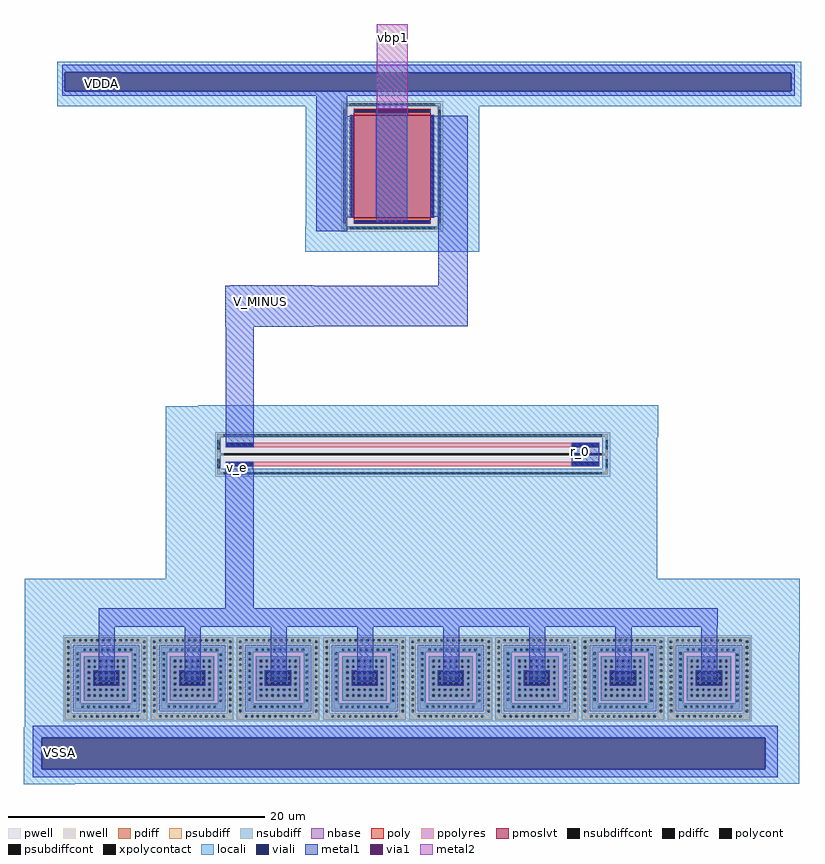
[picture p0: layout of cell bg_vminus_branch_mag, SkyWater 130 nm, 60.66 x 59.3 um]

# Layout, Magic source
magic
tech sky130A
magscale 1 2
<< locali >>
rect 2132 9877 13746 10046
rect 2132 9581 2254 9877
rect 3127 9872 13746 9877
rect 13588 9584 13746 9872
rect 3127 9581 13746 9584
rect 2132 9351 13746 9581
rect 6012 7472 6662 9351
rect 8072 7472 8722 9351
rect 6005 7076 8724 7472
rect 4333 4667 11515 4682
rect 3831 4179 11515 4667
rect 3831 3692 4688 4179
rect 10643 3692 11500 4179
rect 3831 1978 11500 3692
rect 1631 836 13723 1978
rect 1631 32 2501 836
rect 3297 32 3850 836
rect 4638 32 5191 836
rect 5979 32 6532 836
rect 7335 32 7888 836
rect 8676 32 9229 836
rect 10024 32 10577 836
rect 11358 32 11911 836
rect 12728 32 13716 836
rect 1631 -343 13716 32
rect 1614 -504 13716 -343
rect 1614 -1001 1891 -504
rect 13187 -1001 13716 -504
rect 1614 -1228 13716 -1001
rect 1614 -1229 2412 -1228
<< viali >>
rect 2254 9872 3127 9877
rect 2254 9584 13588 9872
rect 2254 9581 3127 9584
rect 1891 -1001 13187 -504
<< metal1 >>
rect 2216 9993 3203 9995
rect 2211 9877 13648 9993
rect 2211 9581 2254 9877
rect 3127 9872 13648 9877
rect 13588 9584 13648 9872
rect 3127 9581 13648 9584
rect 2211 9509 13648 9581
rect 6180 9195 6664 9509
rect 7114 9311 7603 9377
rect 7114 9250 7133 9311
rect 7595 9250 7603 9311
rect 7114 9224 7603 9250
rect 6180 7615 6752 9195
rect 6180 7397 6664 7615
rect 7115 7524 7598 9224
rect 7977 7622 8541 9198
rect 4834 6546 6139 6554
rect 8084 6546 8541 7622
rect 4761 5918 8541 6546
rect 4761 5916 8510 5918
rect 4763 5910 6139 5916
rect 4763 4028 5199 5910
rect 4765 3671 5197 3802
rect 10165 3730 10597 4099
rect 4761 1516 5201 3671
rect 2783 1225 12442 1516
rect 2784 376 3034 1225
rect 4126 376 4376 1225
rect 5466 377 5716 1225
rect 6817 377 7067 1225
rect 8161 376 8411 1225
rect 9502 376 9752 1225
rect 10848 377 11098 1225
rect 12190 377 12440 1225
rect 1755 -504 13383 -323
rect 1755 -1001 1891 -504
rect 13187 -1001 13383 -504
rect 1755 -1122 13383 -1001
<< via1 >>
rect 7133 9250 7595 9311
<< metal2 >>
rect 7119 9311 7609 10632
rect 7119 9250 7133 9311
rect 7595 9250 7609 9311
rect 7119 9245 7609 9250
use sky130_fd_pr__pfet_01v8_lvt_KLHPYA  XM3
transform 1 0 7362 0 1 8410
box -796 -1019 796 1019
use sky130_fd_pr__rf_pnp_05v5_W3p40L3p40  XQ9 $PDKPATH/libs.ref/sky130_fd_pr/mag
transform 1 0 2230 0 1 -249
box 0 0 1340 1340
use sky130_fd_pr__rf_pnp_05v5_W3p40L3p40  XQ10
transform 1 0 3572 0 1 -249
box 0 0 1340 1340
use sky130_fd_pr__rf_pnp_05v5_W3p40L3p40  XQ11
transform 1 0 4914 0 1 -249
box 0 0 1340 1340
use sky130_fd_pr__rf_pnp_05v5_W3p40L3p40  XQ12
transform 1 0 6264 0 1 -249
box 0 0 1340 1340
use sky130_fd_pr__rf_pnp_05v5_W3p40L3p40  XQ13
transform 1 0 7607 0 1 -249
box 0 0 1340 1340
use sky130_fd_pr__rf_pnp_05v5_W3p40L3p40  XQ14
transform 1 0 8949 0 1 -249
box 0 0 1340 1340
use sky130_fd_pr__rf_pnp_05v5_W3p40L3p40  XQ15
transform 1 0 10295 0 1 -249
box 0 0 1340 1340
use sky130_fd_pr__rf_pnp_05v5_W3p40L3p40  XQ16
transform 1 0 11637 0 1 -249
box 0 0 1340 1340
use sky130_fd_pr__res_high_po_0p35_2EL4HT  XR1
transform 0 1 7681 -1 0 4063
box -201 -3082 201 3082
use sky130_fd_pr__res_high_po_0p35_2EL4HT  XR2
transform 0 1 7681 -1 0 3767
box -201 -3082 201 3082
<< labels >>
flabel metal2 7285 10322 7485 10522 0 FreeSans 1600 0 0 0 vbp1
port 3 nsew
flabel metal1 2064 -843 2264 -643 0 FreeSans 1600 0 0 0 VSSA
port 0 nsew
flabel metal1 2729 9603 2929 9803 0 FreeSans 1600 0 0 0 VDDA
port 2 nsew
flabel metal1 5201 6199 5401 6399 0 FreeSans 1600 0 0 0 V_MINUS
port 1 nsew
flabel metal1 10296 3960 10296 3960 0 FreeSans 320 0 0 0 r_0
flabel metal1 4930 3714 4930 3714 0 FreeSans 320 0 0 0 v_e
<< end >>

# cell sky130_fd_pr__pfet_01v8_lvt_KLHPYA: kit device sky130_fd_pr__pfet_01v8_lvt, w 8.0 l 6.0 m 1 nf 1 diffcov 100 polycov 100 guard 1 glc 1 grc 1 gtc 1 gbc 1 tbcov 100 rlcov 100 topc 1 botc 1 poverlap 0 doverlap 1 lmin 0.35 wmin 0.42 class mosfet compatible {sky130_fd_pr__pfet_01v8 sky130_fd_pr__pfet_01v8_lvt sky130_fd_pr__pfet_01v8_hvt sky130_fd_pr__pfet_g5v0d10v5} full_metal 1 conn_gates 0 viasrc 100 viadrn 100 viagate 100 viagb 0 viagr 0 viagl 0 viagt 0 doports 1

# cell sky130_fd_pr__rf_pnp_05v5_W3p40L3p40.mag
magic
tech sky130A
magscale 1 2
<< pwell >>
rect 0 1187 1340 1340
rect 0 153 153 1187
rect 1187 153 1340 1187
rect 0 0 1340 153
<< nbase >>
rect 153 153 1187 1187
<< pdiff >>
rect 330 958 1010 1010
rect 330 924 384 958
rect 418 924 474 958
rect 508 924 564 958
rect 598 924 654 958
rect 688 924 744 958
rect 778 924 834 958
rect 868 924 924 958
rect 958 924 1010 958
rect 330 868 1010 924
rect 330 834 384 868
rect 418 834 474 868
rect 508 834 564 868
rect 598 834 654 868
rect 688 834 744 868
rect 778 834 834 868
rect 868 834 924 868
rect 958 834 1010 868
rect 330 778 1010 834
rect 330 744 384 778
rect 418 744 474 778
rect 508 744 564 778
rect 598 744 654 778
rect 688 744 744 778
rect 778 744 834 778
rect 868 744 924 778
rect 958 744 1010 778
rect 330 688 1010 744
rect 330 654 384 688
rect 418 654 474 688
rect 508 654 564 688
rect 598 654 654 688
rect 688 654 744 688
rect 778 654 834 688
rect 868 654 924 688
rect 958 654 1010 688
rect 330 598 1010 654
rect 330 564 384 598
rect 418 564 474 598
rect 508 564 564 598
rect 598 564 654 598
rect 688 564 744 598
rect 778 564 834 598
rect 868 564 924 598
rect 958 564 1010 598
rect 330 508 1010 564
rect 330 474 384 508
rect 418 474 474 508
rect 508 474 564 508
rect 598 474 654 508
rect 688 474 744 508
rect 778 474 834 508
rect 868 474 924 508
rect 958 474 1010 508
rect 330 418 1010 474
rect 330 384 384 418
rect 418 384 474 418
rect 508 384 564 418
rect 598 384 654 418
rect 688 384 744 418
rect 778 384 834 418
rect 868 384 924 418
rect 958 384 1010 418
rect 330 330 1010 384
<< pdiffc >>
rect 384 924 418 958
rect 474 924 508 958
rect 564 924 598 958
rect 654 924 688 958
rect 744 924 778 958
rect 834 924 868 958
rect 924 924 958 958
rect 384 834 418 868
rect 474 834 508 868
rect 564 834 598 868
rect 654 834 688 868
rect 744 834 778 868
rect 834 834 868 868
rect 924 834 958 868
rect 384 744 418 778
rect 474 744 508 778
rect 564 744 598 778
rect 654 744 688 778
rect 744 744 778 778
rect 834 744 868 778
rect 924 744 958 778
rect 384 654 418 688
rect 474 654 508 688
rect 564 654 598 688
rect 654 654 688 688
rect 744 654 778 688
rect 834 654 868 688
rect 924 654 958 688
rect 384 564 418 598
rect 474 564 508 598
rect 564 564 598 598
rect 654 564 688 598
rect 744 564 778 598
rect 834 564 868 598
rect 924 564 958 598
rect 384 474 418 508
rect 474 474 508 508
rect 564 474 598 508
rect 654 474 688 508
rect 744 474 778 508
rect 834 474 868 508
rect 924 474 958 508
rect 384 384 418 418
rect 474 384 508 418
rect 564 384 598 418
rect 654 384 688 418
rect 744 384 778 418
rect 834 384 868 418
rect 924 384 958 418
<< psubdiff >>
rect 26 1279 1314 1314
rect 26 1256 156 1279
rect 26 1222 60 1256
rect 94 1245 156 1256
rect 190 1245 246 1279
rect 280 1245 336 1279
rect 370 1245 426 1279
rect 460 1245 516 1279
rect 550 1245 606 1279
rect 640 1245 696 1279
rect 730 1245 786 1279
rect 820 1245 876 1279
rect 910 1245 966 1279
rect 1000 1245 1056 1279
rect 1090 1245 1146 1279
rect 1180 1256 1314 1279
rect 1180 1245 1247 1256
rect 94 1222 1247 1245
rect 1281 1222 1314 1256
rect 26 1213 1314 1222
rect 26 1166 127 1213
rect 26 1132 60 1166
rect 94 1132 127 1166
rect 1213 1166 1314 1213
rect 26 1076 127 1132
rect 26 1042 60 1076
rect 94 1042 127 1076
rect 26 986 127 1042
rect 26 952 60 986
rect 94 952 127 986
rect 26 896 127 952
rect 26 862 60 896
rect 94 862 127 896
rect 26 806 127 862
rect 26 772 60 806
rect 94 772 127 806
rect 26 716 127 772
rect 26 682 60 716
rect 94 682 127 716
rect 26 626 127 682
rect 26 592 60 626
rect 94 592 127 626
rect 26 536 127 592
rect 26 502 60 536
rect 94 502 127 536
rect 26 446 127 502
rect 26 412 60 446
rect 94 412 127 446
rect 26 356 127 412
rect 26 322 60 356
rect 94 322 127 356
rect 26 266 127 322
rect 26 232 60 266
rect 94 232 127 266
rect 26 176 127 232
rect 1213 1132 1247 1166
rect 1281 1132 1314 1166
rect 1213 1076 1314 1132
rect 1213 1042 1247 1076
rect 1281 1042 1314 1076
rect 1213 986 1314 1042
rect 1213 952 1247 986
rect 1281 952 1314 986
rect 1213 896 1314 952
rect 1213 862 1247 896
rect 1281 862 1314 896
rect 1213 806 1314 862
rect 1213 772 1247 806
rect 1281 772 1314 806
rect 1213 716 1314 772
rect 1213 682 1247 716
rect 1281 682 1314 716
rect 1213 626 1314 682
rect 1213 592 1247 626
rect 1281 592 1314 626
rect 1213 536 1314 592
rect 1213 502 1247 536
rect 1281 502 1314 536
rect 1213 446 1314 502
rect 1213 412 1247 446
rect 1281 412 1314 446
rect 1213 356 1314 412
rect 1213 322 1247 356
rect 1281 322 1314 356
rect 1213 266 1314 322
rect 1213 232 1247 266
rect 1281 232 1314 266
rect 26 142 60 176
rect 94 142 127 176
rect 26 127 127 142
rect 1213 176 1314 232
rect 1213 142 1247 176
rect 1281 142 1314 176
rect 1213 127 1314 142
rect 26 92 1314 127
rect 26 58 156 92
rect 190 58 246 92
rect 280 58 336 92
rect 370 58 426 92
rect 460 58 516 92
rect 550 58 606 92
rect 640 58 696 92
rect 730 58 786 92
rect 820 58 876 92
rect 910 58 966 92
rect 1000 58 1056 92
rect 1090 58 1146 92
rect 1180 58 1314 92
rect 26 26 1314 58
<< nsubdiff >>
rect 189 1132 1151 1151
rect 189 1098 320 1132
rect 354 1098 410 1132
rect 444 1098 500 1132
rect 534 1098 590 1132
rect 624 1098 680 1132
rect 714 1098 770 1132
rect 804 1098 860 1132
rect 894 1098 950 1132
rect 984 1098 1040 1132
rect 1074 1098 1151 1132
rect 189 1079 1151 1098
rect 189 1075 261 1079
rect 189 1041 208 1075
rect 242 1041 261 1075
rect 189 985 261 1041
rect 1079 1056 1151 1079
rect 1079 1022 1098 1056
rect 1132 1022 1151 1056
rect 189 951 208 985
rect 242 951 261 985
rect 189 895 261 951
rect 189 861 208 895
rect 242 861 261 895
rect 189 805 261 861
rect 189 771 208 805
rect 242 771 261 805
rect 189 715 261 771
rect 189 681 208 715
rect 242 681 261 715
rect 189 625 261 681
rect 189 591 208 625
rect 242 591 261 625
rect 189 535 261 591
rect 189 501 208 535
rect 242 501 261 535
rect 189 445 261 501
rect 189 411 208 445
rect 242 411 261 445
rect 189 355 261 411
rect 189 321 208 355
rect 242 321 261 355
rect 1079 966 1151 1022
rect 1079 932 1098 966
rect 1132 932 1151 966
rect 1079 876 1151 932
rect 1079 842 1098 876
rect 1132 842 1151 876
rect 1079 786 1151 842
rect 1079 752 1098 786
rect 1132 752 1151 786
rect 1079 696 1151 752
rect 1079 662 1098 696
rect 1132 662 1151 696
rect 1079 606 1151 662
rect 1079 572 1098 606
rect 1132 572 1151 606
rect 1079 516 1151 572
rect 1079 482 1098 516
rect 1132 482 1151 516
rect 1079 426 1151 482
rect 1079 392 1098 426
rect 1132 392 1151 426
rect 1079 336 1151 392
rect 189 261 261 321
rect 1079 302 1098 336
rect 1132 302 1151 336
rect 1079 261 1151 302
rect 189 242 1151 261
rect 189 208 286 242
rect 320 208 376 242
rect 410 208 466 242
rect 500 208 556 242
rect 590 208 646 242
rect 680 208 736 242
rect 770 208 826 242
rect 860 208 916 242
rect 950 208 1006 242
rect 1040 208 1151 242
rect 189 189 1151 208
<< psubdiffcont >>
rect 60 1222 94 1256
rect 156 1245 190 1279
rect 246 1245 280 1279
rect 336 1245 370 1279
rect 426 1245 460 1279
rect 516 1245 550 1279
rect 606 1245 640 1279
rect 696 1245 730 1279
rect 786 1245 820 1279
rect 876 1245 910 1279
rect 966 1245 1000 1279
rect 1056 1245 1090 1279
rect 1146 1245 1180 1279
rect 1247 1222 1281 1256
rect 60 1132 94 1166
rect 60 1042 94 1076
rect 60 952 94 986
rect 60 862 94 896
rect 60 772 94 806
rect 60 682 94 716
rect 60 592 94 626
rect 60 502 94 536
rect 60 412 94 446
rect 60 322 94 356
rect 60 232 94 266
rect 1247 1132 1281 1166
rect 1247 1042 1281 1076
rect 1247 952 1281 986
rect 1247 862 1281 896
rect 1247 772 1281 806
rect 1247 682 1281 716
rect 1247 592 1281 626
rect 1247 502 1281 536
rect 1247 412 1281 446
rect 1247 322 1281 356
rect 1247 232 1281 266
rect 60 142 94 176
rect 1247 142 1281 176
rect 156 58 190 92
rect 246 58 280 92
rect 336 58 370 92
rect 426 58 460 92
rect 516 58 550 92
rect 606 58 640 92
rect 696 58 730 92
rect 786 58 820 92
rect 876 58 910 92
rect 966 58 1000 92
rect 1056 58 1090 92
rect 1146 58 1180 92
<< nsubdiffcont >>
rect 320 1098 354 1132
rect 410 1098 444 1132
rect 500 1098 534 1132
rect 590 1098 624 1132
rect 680 1098 714 1132
rect 770 1098 804 1132
rect 860 1098 894 1132
rect 950 1098 984 1132
rect 1040 1098 1074 1132
rect 208 1041 242 1075
rect 1098 1022 1132 1056
rect 208 951 242 985
rect 208 861 242 895
rect 208 771 242 805
rect 208 681 242 715
rect 208 591 242 625
rect 208 501 242 535
rect 208 411 242 445
rect 208 321 242 355
rect 1098 932 1132 966
rect 1098 842 1132 876
rect 1098 752 1132 786
rect 1098 662 1132 696
rect 1098 572 1132 606
rect 1098 482 1132 516
rect 1098 392 1132 426
rect 1098 302 1132 336
rect 286 208 320 242
rect 376 208 410 242
rect 466 208 500 242
rect 556 208 590 242
rect 646 208 680 242
rect 736 208 770 242
rect 826 208 860 242
rect 916 208 950 242
rect 1006 208 1040 242
<< locali >>
rect 26 1279 1314 1314
rect 26 1256 156 1279
rect 26 1222 60 1256
rect 94 1245 156 1256
rect 190 1245 246 1279
rect 280 1245 336 1279
rect 370 1245 426 1279
rect 460 1245 516 1279
rect 550 1245 606 1279
rect 640 1245 696 1279
rect 730 1245 786 1279
rect 820 1245 876 1279
rect 910 1245 966 1279
rect 1000 1245 1056 1279
rect 1090 1245 1146 1279
rect 1180 1256 1314 1279
rect 1180 1245 1247 1256
rect 94 1222 1247 1245
rect 1281 1222 1314 1256
rect 26 1215 1314 1222
rect 26 1166 125 1215
rect 26 1132 60 1166
rect 94 1132 125 1166
rect 1215 1166 1314 1215
rect 26 1076 125 1132
rect 26 1042 60 1076
rect 94 1042 125 1076
rect 26 986 125 1042
rect 26 952 60 986
rect 94 952 125 986
rect 26 896 125 952
rect 26 862 60 896
rect 94 862 125 896
rect 26 806 125 862
rect 26 772 60 806
rect 94 772 125 806
rect 26 716 125 772
rect 26 682 60 716
rect 94 682 125 716
rect 26 626 125 682
rect 26 592 60 626
rect 94 592 125 626
rect 26 536 125 592
rect 26 502 60 536
rect 94 502 125 536
rect 26 446 125 502
rect 26 412 60 446
rect 94 412 125 446
rect 26 356 125 412
rect 26 322 60 356
rect 94 322 125 356
rect 26 266 125 322
rect 26 232 60 266
rect 94 232 125 266
rect 26 176 125 232
rect 189 1132 1151 1151
rect 189 1098 320 1132
rect 354 1098 410 1132
rect 444 1098 500 1132
rect 534 1098 590 1132
rect 624 1098 680 1132
rect 714 1098 770 1132
rect 804 1098 860 1132
rect 894 1098 950 1132
rect 984 1098 1040 1132
rect 1074 1098 1151 1132
rect 189 1079 1151 1098
rect 189 1075 261 1079
rect 189 1041 208 1075
rect 242 1041 261 1075
rect 189 985 261 1041
rect 1079 1056 1151 1079
rect 1079 1022 1098 1056
rect 1132 1022 1151 1056
rect 189 951 208 985
rect 242 951 261 985
rect 189 895 261 951
rect 189 861 208 895
rect 242 861 261 895
rect 189 805 261 861
rect 189 771 208 805
rect 242 771 261 805
rect 189 715 261 771
rect 189 681 208 715
rect 242 681 261 715
rect 189 625 261 681
rect 189 591 208 625
rect 242 591 261 625
rect 189 535 261 591
rect 189 501 208 535
rect 242 501 261 535
rect 189 445 261 501
rect 189 411 208 445
rect 242 411 261 445
rect 189 355 261 411
rect 189 321 208 355
rect 242 321 261 355
rect 323 958 1017 1017
rect 323 924 384 958
rect 418 924 474 958
rect 508 924 564 958
rect 598 924 654 958
rect 688 924 744 958
rect 778 924 834 958
rect 868 924 924 958
rect 958 924 1017 958
rect 323 868 1017 924
rect 323 834 384 868
rect 418 834 474 868
rect 508 834 564 868
rect 598 834 654 868
rect 688 834 744 868
rect 778 834 834 868
rect 868 834 924 868
rect 958 834 1017 868
rect 323 778 1017 834
rect 323 744 384 778
rect 418 744 472 778
rect 868 744 924 778
rect 958 744 1017 778
rect 323 688 472 744
rect 868 688 1017 744
rect 323 654 384 688
rect 418 654 472 688
rect 868 654 924 688
rect 958 654 1017 688
rect 323 598 472 654
rect 868 598 1017 654
rect 323 564 384 598
rect 418 564 472 598
rect 868 564 924 598
rect 958 564 1017 598
rect 323 508 1017 564
rect 323 474 384 508
rect 418 474 474 508
rect 508 474 564 508
rect 598 474 654 508
rect 688 474 744 508
rect 778 474 834 508
rect 868 474 924 508
rect 958 474 1017 508
rect 323 418 1017 474
rect 323 384 384 418
rect 418 384 474 418
rect 508 384 564 418
rect 598 384 654 418
rect 688 384 744 418
rect 778 384 834 418
rect 868 384 924 418
rect 958 384 1017 418
rect 323 323 1017 384
rect 1079 966 1151 1022
rect 1079 932 1098 966
rect 1132 932 1151 966
rect 1079 876 1151 932
rect 1079 842 1098 876
rect 1132 842 1151 876
rect 1079 786 1151 842
rect 1079 752 1098 786
rect 1132 752 1151 786
rect 1079 696 1151 752
rect 1079 662 1098 696
rect 1132 662 1151 696
rect 1079 606 1151 662
rect 1079 572 1098 606
rect 1132 572 1151 606
rect 1079 516 1151 572
rect 1079 482 1098 516
rect 1132 482 1151 516
rect 1079 426 1151 482
rect 1079 392 1098 426
rect 1132 392 1151 426
rect 1079 336 1151 392
rect 189 261 261 321
rect 1079 302 1098 336
rect 1132 302 1151 336
rect 1079 261 1151 302
rect 189 242 1151 261
rect 189 208 286 242
rect 320 208 376 242
rect 410 208 466 242
rect 500 208 556 242
rect 590 208 646 242
rect 680 208 736 242
rect 770 208 826 242
rect 860 208 916 242
rect 950 208 1006 242
rect 1040 208 1151 242
rect 189 189 1151 208
rect 1215 1132 1247 1166
rect 1281 1132 1314 1166
rect 1215 1076 1314 1132
rect 1215 1042 1247 1076
rect 1281 1042 1314 1076
rect 1215 986 1314 1042
rect 1215 952 1247 986
rect 1281 952 1314 986
rect 1215 896 1314 952
rect 1215 862 1247 896
rect 1281 862 1314 896
rect 1215 806 1314 862
rect 1215 772 1247 806
rect 1281 772 1314 806
rect 1215 716 1314 772
rect 1215 682 1247 716
rect 1281 682 1314 716
rect 1215 626 1314 682
rect 1215 592 1247 626
rect 1281 592 1314 626
rect 1215 536 1314 592
rect 1215 502 1247 536
rect 1281 502 1314 536
rect 1215 446 1314 502
rect 1215 412 1247 446
rect 1281 412 1314 446
rect 1215 356 1314 412
rect 1215 322 1247 356
rect 1281 322 1314 356
rect 1215 266 1314 322
rect 1215 232 1247 266
rect 1281 232 1314 266
rect 26 142 60 176
rect 94 142 125 176
rect 26 125 125 142
rect 1215 176 1314 232
rect 1215 142 1247 176
rect 1281 142 1314 176
rect 1215 125 1314 142
rect 26 92 1314 125
rect 26 58 156 92
rect 190 58 246 92
rect 280 58 336 92
rect 370 58 426 92
rect 460 58 516 92
rect 550 58 606 92
rect 640 58 696 92
rect 730 58 786 92
rect 820 58 876 92
rect 910 58 966 92
rect 1000 58 1056 92
rect 1090 58 1146 92
rect 1180 58 1314 92
rect 26 26 1314 58
<< viali >>
rect 472 744 474 778
rect 474 744 508 778
rect 508 744 564 778
rect 564 744 598 778
rect 598 744 654 778
rect 654 744 688 778
rect 688 744 744 778
rect 744 744 778 778
rect 778 744 834 778
rect 834 744 868 778
rect 472 688 868 744
rect 472 654 474 688
rect 474 654 508 688
rect 508 654 564 688
rect 564 654 598 688
rect 598 654 654 688
rect 654 654 688 688
rect 688 654 744 688
rect 744 654 778 688
rect 778 654 834 688
rect 834 654 868 688
rect 472 598 868 654
rect 472 564 474 598
rect 474 564 508 598
rect 508 564 564 598
rect 564 564 598 598
rect 598 564 654 598
rect 654 564 688 598
rect 688 564 744 598
rect 744 564 778 598
rect 778 564 834 598
rect 834 564 868 598
<< metal1 >>
rect 464 778 874 796
rect 464 564 472 778
rect 868 564 874 778
rect 464 550 874 564
<< labels >>
flabel locali s 554 626 802 730 0 FreeSans 400 0 0 0 Emitter
port 2 nsew
flabel locali s 613 1252 714 1301 0 FreeSans 400 0 0 0 Collector
port 3 nsew
flabel locali s 590 1102 708 1142 0 FreeSans 400 0 0 0 Base
port 4 nsew
<< end >>

# cell sky130_fd_pr__res_high_po_0p35_2EL4HT: kit device sky130_fd_pr__res_high_po_0p35, w 0.350 l 25.0 m 1 nx 1 wmin 0.350 lmin 0.50 class resistor rho 319.8 val 23.956k dummy 0 dw 0.0 term 194.82 sterm 0.0 caplen 0 guard 1 glc 1 grc 1 gtc 1 gbc 1 compatible {sky130_fd_pr__res_high_po_0p35 sky130_fd_pr__res_high_po_0p69 sky130_fd_pr__res_high_po_1p41 sky130_fd_pr__res_high_po_2p85 sky130_fd_pr__res_high_po_5p73} snake 0 full_metal 1 wmax 0.350 vias 1 n_guard 0 hv_guard 0 viagb 0 viagt 0 viagl 0 viagr 0 doports 1 mult 1
